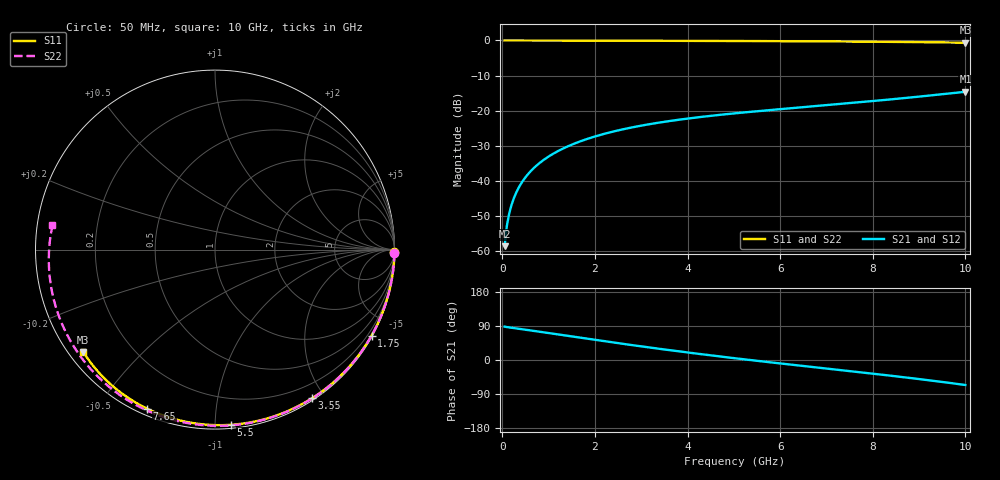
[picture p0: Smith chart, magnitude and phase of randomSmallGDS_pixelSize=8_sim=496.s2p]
! freq	dB(S11)	phase(S11)	dB(S12)	phase(S12)
!  dB(S21)	phase(S21)	dB(S22)	phase(S22)
!S-par simulation data
#  GHz  S  DB  R 50
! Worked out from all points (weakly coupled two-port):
!   200 points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, 50 MHz to 10 GHz, reference 50 ohm
!   highest |S21| = -14.64 dB at 10 GHz (marker M1); lowest = -58.7 dB at 50 MHz (marker M2)
!   lowest |S11| = -0.6 dB at 10 GHz (marker M3), VSWR 27.31, Z = 2.05 - j17.1 ohm
!   |S11| at or under -10 dB: nowhere
!   |S22| runs from -0.8 to 0.0 dB; largest |S21 - S12| = 0
!   S11 on the Smith chart (normalised r, x): 50 MHz: open; 1.75 GHz: 0.04, -3.89; 3.55 GHz: 0.02, -1.85; 5.5 GHz: 0.02, -1.09; 7.65 GHz: 0.03, -0.66; 10 GHz: 0.04, -0.34
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0.05  -0.00 -0.8  -58.67 88.1  -58.67 88.1  -0.00 -1.0
0.1  -0.00 -1.7  -52.75 86.8  -52.75 86.8  -0.00 -2.1
0.15  -0.00 -2.5  -49.32 85.8  -49.32 85.8  -0.00 -3.1
0.2  -0.00 -3.4  -46.87 85.0  -46.87 85.0  -0.00 -4.2
0.25  -0.00 -4.2  -44.97 84.2  -44.97 84.2  -0.00 -5.2
0.35  -0.00 -5.9  -42.09 82.6  -42.09 82.6  -0.01 -7.3
0.5  -0.01 -8.4  -39.03 80.0  -39.03 80.0  -0.01 -10.4
0.7  -0.01 -11.7  -36.15 76.4  -36.15 76.4  -0.02 -14.6
1  -0.02 -16.6  -33.11 71.0  -33.11 71.0  -0.03 -20.7
1.35  -0.03 -22.3  -30.59 64.7  -30.59 64.7  -0.04 -27.9
1.75  -0.04 -28.8  -28.46 57.5  -28.46 57.5  -0.05 -35.9
2.6  -0.07 -42.3  -25.35 42.7  -25.35 42.7  -0.08 -52.7
3.4  -0.09 -54.6  -23.40 29.4  -23.40 29.4  -0.11 -68.0
3.55  -0.10 -56.9  -23.10 27.0  -23.10 27.0  -0.11 -70.8
4.3  -0.12 -67.9  -21.80 15.3  -21.80 15.3  -0.15 -84.6
5.05  -0.15 -78.6  -20.75 4.2  -20.75 4.2  -0.18 -97.9
5.5  -0.17 -84.9  -20.19 -2.2  -20.19 -2.2  -0.21 -105.8
6.7  -0.25 -100.9  -18.80 -18.5  -18.80 -18.5  -0.30 -126.6
7.65  -0.32 -113.1  -17.71 -31.3  -17.71 -31.3  -0.39 -143.1
8.35  -0.39 -121.8  -16.86 -40.9  -16.86 -40.9  -0.48 -155.7
9.2  -0.50 -132.3  -15.75 -53.3  -15.75 -53.3  -0.61 -171.9
10  -0.64 -142.2  -14.64 -66.0  -14.64 -66.0  -0.77 171.5
